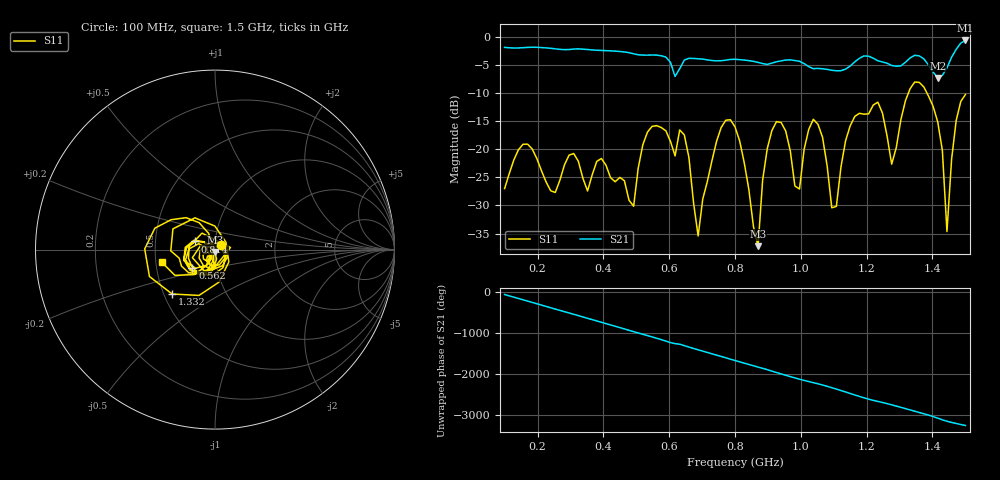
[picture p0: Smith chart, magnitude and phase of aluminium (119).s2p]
! NanoVNA-App
! Date: 2025-09-25 14:56:12
! Start: 100MHz Stop: 1,5GHz Points: 101
! S-Parameter data: F S11 S21 S12 S22
# Hz S RI R 50
!  Frequency  S11_Real  S11_Imag  S21_Real  S21_Imag  S12_Real  S12_Imag  S22_Real  S22_Imag
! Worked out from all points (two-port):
!   101 points, 100 MHz to 1.5 GHz, reference 50 ohm
!   highest |S21| = -0.69 dB at 1.5 GHz (marker M1); lowest = -7.3 dB at 1.416 GHz (marker M2)
!   |S21| within 3 dB of the highest: start of sweep to 590.7 MHz; 1.458 GHz to end of sweep (the widest 2 of 4)
!   lowest |S11| = -37.2 dB at 870 MHz (marker M3), VSWR 1.03, Z = 49.8 - j1.36 ohm
!   |S11| at or under -10 dB: start of sweep to 1.327 GHz; 1.383 GHz to end of sweep
!   S12 and S22 are empty: the file has one direction only
!   S11 on the Smith chart (normalised r, x): 100 MHz: 1.07, +0.06; 562 MHz: 0.76, -0.16; 814 MHz: 0.80, +0.07; 1.332 GHz: 0.55, -0.31; 1.5 GHz: 0.54, -0.08
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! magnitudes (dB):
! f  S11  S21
! 100 MHz  -27.0  -1.9
! 338 MHz  -25.2  -2.2
! 492 MHz  -30.1  -3.1
! 562 MHz  -15.8  -3.3
! 576 MHz  -16.2  -3.4
! 646 MHz  -17.5  -4.2
! 688 MHz  -35.4  -3.9
! 800 MHz  -16.0  -4.0
! 814 MHz  -18.5  -4.1
! 870 MHz  -37.2  -4.6
! 912 MHz  -16.7  -4.7
! 996 MHz  -27.1  -4.4
! 1.038 GHz  -14.7  -5.7
! 1.094 GHz  -30.4  -6.0
! 1.164 GHz  -14.2  -4.5
! 1.234 GHz  -11.7  -4.3
! 1.276 GHz  -22.7  -5.1
! 1.332 GHz  -9.3  -3.8
! 1.416 GHz  -15.2  -7.3
! 1.444 GHz  -34.6  -5.6
! 1.472 GHz  -14.9  -2.3
! 1.5 GHz  -10.3  -0.7
